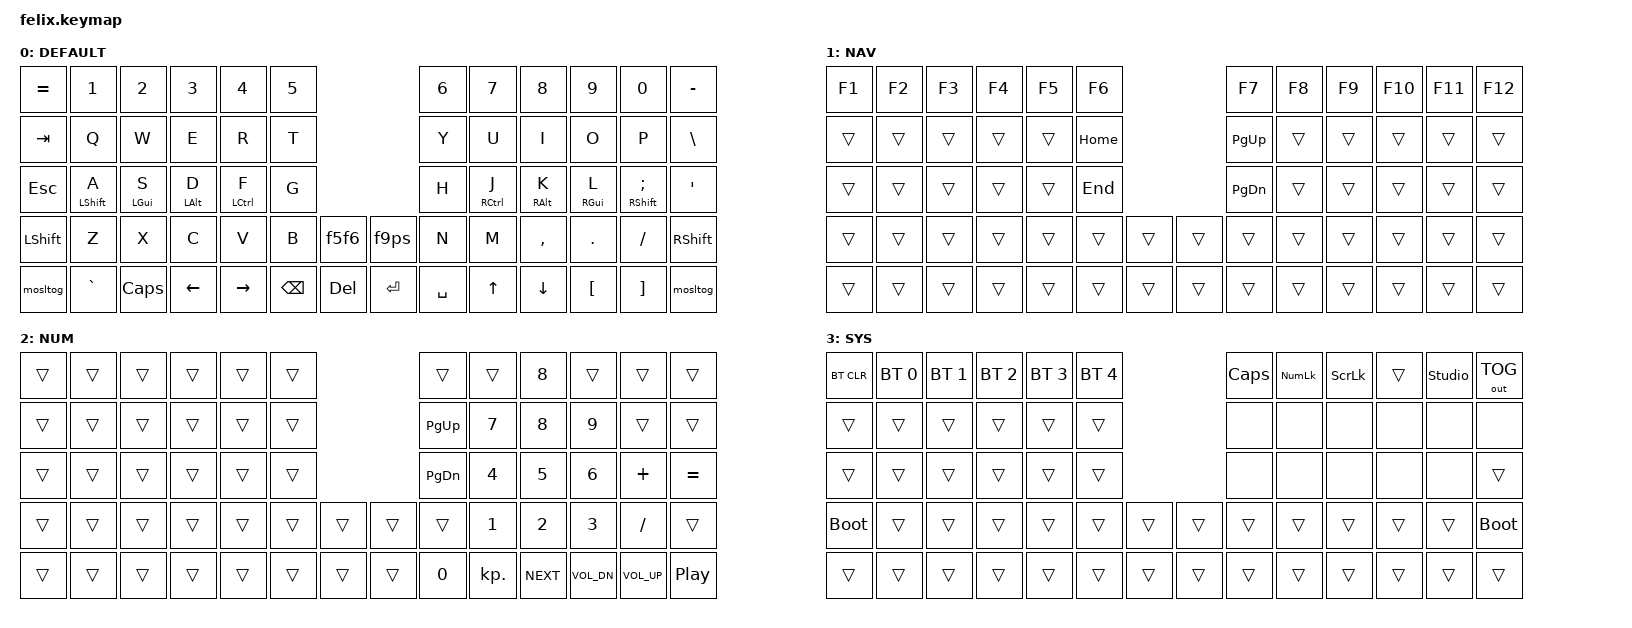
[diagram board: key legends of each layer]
/*
 * Copyright (c) 2020 The ZMK Contributors
 *
 * SPDX-License-Identifier: MIT
 */

#include <behaviors.dtsi>
#include <dt-bindings/zmk/bt.h>
#include <dt-bindings/zmk/keys.h>
#include <dt-bindings/zmk/outputs.h>

#define DEFAULT 0
#define LOWER  1
#define RAISE  2
#define ADJUST 3

/* NOTE: At the time of the creation of this keymap, there are no specified codes for 'eisuu' and 'kana' input in ZMK.
However, 'LANG1' and 'LANG2' are fully-functioning candidates for 'kana' and 'eisuu' input respectively.
As such, those are in use within the default layer at this time.*/

/ {
    behaviors {
        tpmt: tpmt {
            compatible = "zmk,behavior-hold-tap";
            label = "TPMT";
            bindings = <&kp>, <&kp>;

            #binding-cells = <2>;
            tapping-term-ms = <200>;
            quick-tap-ms = <125>;
            require-prior-idle-ms = <125>;
            flavor = "tap-preferred";
        };

        f5f6: f5f6 {
            compatible = "zmk,behavior-tap-dance";
            label = "F5F6";
            #binding-cells = <0>;
            bindings = <&kp F5>, <&kp F6>;
        };

        f9ps: f9ps {
            compatible = "zmk,behavior-tap-dance";
            label = "F9PS";
            #binding-cells = <0>;
            bindings = <&kp F9>, <&kp PRINTSCREEN>;
        };

        hml: hml {
            compatible = "zmk,behavior-hold-tap";
            label = "HML";
            bindings = <&kp>, <&kp>;

            #binding-cells = <2>;
            tapping-term-ms = <280>;
            quick-tap-ms = <250>;
            require-prior-idle-ms = <200>;
            flavor = "balanced";
            hold-trigger-on-release;
            hold-trigger-key-positions = <6 7 8 9 10 11 18 19 20 21 22 23 30 31 32 33 34 35 43 44 45 46 47 48 49 57 58 59 60 61 62 63>;
        };

        hmr: hmr {
            compatible = "zmk,behavior-hold-tap";
            label = "HMR";
            bindings = <&kp>, <&kp>;

            #binding-cells = <2>;
            tapping-term-ms = <280>;
            quick-tap-ms = <250>;
            require-prior-idle-ms = <200>;
            flavor = "balanced";
            hold-trigger-on-release;
            hold-trigger-key-positions = <0 1 2 3 4 5 12 13 14 15 16 17 24 25 26 27 28 29 36 37 38 39 40 41 42 50 51 52 53 54 55 56>;
        };

        mosl: mosl {
            compatible = "zmk,behavior-hold-tap";
            label = "MOSL";
            bindings = <&mo>, <&sl>;

            #binding-cells = <2>;
            tapping-term-ms = <150>;
        };

        mosltog: mosltog {
            compatible = "zmk,behavior-tap-dance";
            label = "MOSLTOG";
            #binding-cells = <0>;
            bindings = <&mosl 1 1>, <&tog 1>;
        };
    };

    combos {
        compatible = "zmk,combos";

        altf4 {
            bindings = <&kp LA(F4)>;
            key-positions = <29 30>;
            timeout-ms = <50>;
            require-prior-idle-ms = <500>;
        };

        tog3 {
            bindings = <&tog 3>;
            key-positions = <36 49>;
            timeout-ms = <50>;
            require-prior-idle-ms = <500>;
        };
    };

    keymap {
        compatible = "zmk,keymap";

        default_layer {
            // ---------------------------------------------------------------------------------------------------------------------------------
            // | GRAVE  |   1    |   2    |   3    |   4    |   5    |                                      |   6    |   7    |   8    |   9    |   0    |  DEL   |
            // |  TAB   |   Q    |   W    |   E    |   R    |   T    |                                      |   Y    |   U    |   I    |   O    |   P    |  BSPC  |
            // |  CTRL  |   A    |   S    |   D    |   F    |   G    |                                      |   H    |   J    |   K    |   L    |   ;    |   '    |
            // |  SHIFT |   Z    |   X    |   C    |   V    |   B    |  LBKT  |                    |  RBKT  |   N    |   M    |   ,    |   .    |   /    |  RET   |
            // | ADJUST |  ESC   |  ALT   |  LGUI  | EISUU  | LOWER  | SPACE  |                    |  SPACE | RAISE  |  KANA  |  LEFT  |  DOWN  |  UP    |  RIGHT |

            bindings = <
&kp EQUAL  &kp N1             &kp N2           &kp N3           &kp N4               &kp N5                                      &kp N6     &kp N7                &kp N8            &kp N9            &kp N0                      &kp MINUS
&kp TAB    &kp Q              &kp W            &kp E            &kp R                &kp T                                       &kp Y      &kp U                 &kp I             &kp O             &kp P                       &kp BACKSLASH
&kp ESC    &hml LEFT_SHIFT A  &hml LEFT_GUI S  &hml LEFT_ALT D  &hml LEFT_CONTROL F  &kp G                                       &kp H      &hmr RIGHT_CONTROL J  &hmr RIGHT_ALT K  &hmr RIGHT_GUI L  &hmr RIGHT_SHIFT SEMICOLON  &kp SQT
&kp LSHFT  &kp Z              &kp X            &kp C            &kp V                &kp B          &f5f6             &f9ps      &kp N      &kp M                 &kp COMMA         &kp PERIOD        &kp SLASH                   &kp RIGHT_SHIFT
&mosltog   &kp GRAVE          &kp CAPSLOCK     &kp LEFT         &kp RIGHT            &kp BACKSPACE  &kp DELETE        &kp ENTER  &kp SPACE  &kp UP                &kp DOWN          &kp LEFT_BRACKET  &kp RIGHT_BRACKET           &mosltog
            >;

            label = "DEFAULT";
        };

        lower_layer {
            // ---------------------------------------------------------------------------------------------------------------------------------
            // |      |      |      |      |      |      |                                  |      |      |      |      |      |      |
            // |  ~   |  !   |  @   |  #   |  $   |  %   |                                  |  ^   |  &   |  *   |  (   |  )   |      |
            // |      |      |      |      |      |      |                                  |      |  _   |  +   |  {   |  }   | PIPE |
            // |      |      |      |      |      |      |  (   |                    |  )   |      |      |      | HOME | END  |      |
            // |      |      |      |      |      |      |      |                    |      |      |      |      |      |      |      |

            bindings = <
&kp F1  &kp F2  &kp F3  &kp F4  &kp F5  &kp F6                          &kp F7         &kp F8  &kp F9  &kp F10  &kp F11  &kp F12
&trans  &trans  &trans  &trans  &trans  &kp HOME                        &kp PAGE_UP    &trans  &trans  &trans   &trans   &trans
&trans  &trans  &trans  &trans  &trans  &kp END                         &kp PAGE_DOWN  &trans  &trans  &trans   &trans   &trans
&trans  &trans  &trans  &trans  &trans  &trans    &trans        &trans  &trans         &trans  &trans  &trans   &trans   &trans
&trans  &trans  &trans  &trans  &trans  &trans    &trans        &trans  &trans         &trans  &trans  &trans   &trans   &trans
            >;

            label = "NAV";
        };

        raise_layer {
            // ---------------------------------------------------------------------------------------------------------------------------------
            // |       |       |       |       |       |       |                                    |       |       |       |       |       |       |
            // |   `   |   1   |   2   |   3   |   4   |   5   |                                    |   6   |   7   |   8   |   9   |   0   |  DEL  |
            // |       |  F1   |  F2   |  F3   |  F4   |  F5   |                                    |  F6   |   -   |   =   |   [   |   ]   |   \   |
            // |       |  F7   |  F8   |  F9   |  F10  |  F11  |       |                    |       |  F12  |       | PSCRN | PG_DN | PG_UP |       |
            // |       |       |       |       |       |       |       |                    |       |       |       | NEXT  | VOL-  | VOL+  | PLAY  |

            bindings = <
&trans  &trans  &trans  &trans  &trans  &trans                        &trans         &trans        &kp N8        &trans        &trans        &trans
&trans  &trans  &trans  &trans  &trans  &trans                        &kp PG_UP      &kp N7        &kp N8        &kp N9        &trans        &trans
&trans  &trans  &trans  &trans  &trans  &trans                        &kp PAGE_DOWN  &kp NUMBER_4  &kp N5        &kp NUMBER_6  &kp PLUS      &kp EQUAL
&trans  &trans  &trans  &trans  &trans  &trans  &trans        &trans  &trans         &kp NUMBER_1  &kp NUMBER_2  &kp NUMBER_3  &kp SLASH     &trans
&trans  &trans  &trans  &trans  &trans  &trans  &trans        &trans  &kp N0         &kp KP_DOT    &kp C_NEXT    &kp C_VOL_DN  &kp C_VOL_UP  &kp C_PP
            >;

            label = "NUM";
        };

        adjust_layer {
            // ---------------------------------------------------------------------------------------------------------------------------------
            // |    `     |    !     |    @     |    #     |    $     |    %     |                                          |    ^     |    &     |    *     |    (     |    )     |  EP TOG  |
            // |  BT CLR  | BT SEL0  | BT SEL1  | BT SEL2  | BGT SEL3 | BT SEL4  |                                          | RGB EFF+ | RGB HUE+ | RGB SAT+ | RGB SPD+ | RGB BRI+ | RGB TOG  |
            // |  BT NXT  | OUT TOG  | OUT USB  | OUT BLE  |          |          |                                          | RGB EFF- | RGB HUE- | RGB SAT- | RGB SPD- | RGB BRI- |          |
            // |  BT PRV  |          |          |          |          |          |    {     |                    |    }     |          |          |          |          |          |          |
            // |          |          |          |          |          |          |          |                    |          |          |          |          |          |          |          |

            bindings = <
&bt BT_CLR   &bt BT_SEL 0  &bt BT_SEL 1  &bt BT_SEL 2  &bt BT_SEL 3  &bt BT_SEL 4                        &kp CAPSLOCK  &kp KP_NUMLOCK  &kp SCROLLLOCK  &trans  &studio_unlock  &out OUT_TOG
&trans       &trans        &trans        &trans        &trans        &trans                              &none         &none           &none           &none   &none           &none
&trans       &trans        &trans        &trans        &trans        &trans                              &none         &none           &none           &none   &none           &trans
&bootloader  &trans        &trans        &trans        &trans        &trans        &trans        &trans  &trans        &trans          &trans          &trans  &trans          &bootloader
&trans       &trans        &trans        &trans        &trans        &trans        &trans        &trans  &trans        &trans          &trans          &trans  &trans          &trans
            >;

            label = "SYS";
        };

        extra1 { status = "reserved"; };

        extra2 { status = "reserved"; };

        extra3 { status = "reserved"; };

        extra4 { status = "reserved"; };
    };
};
